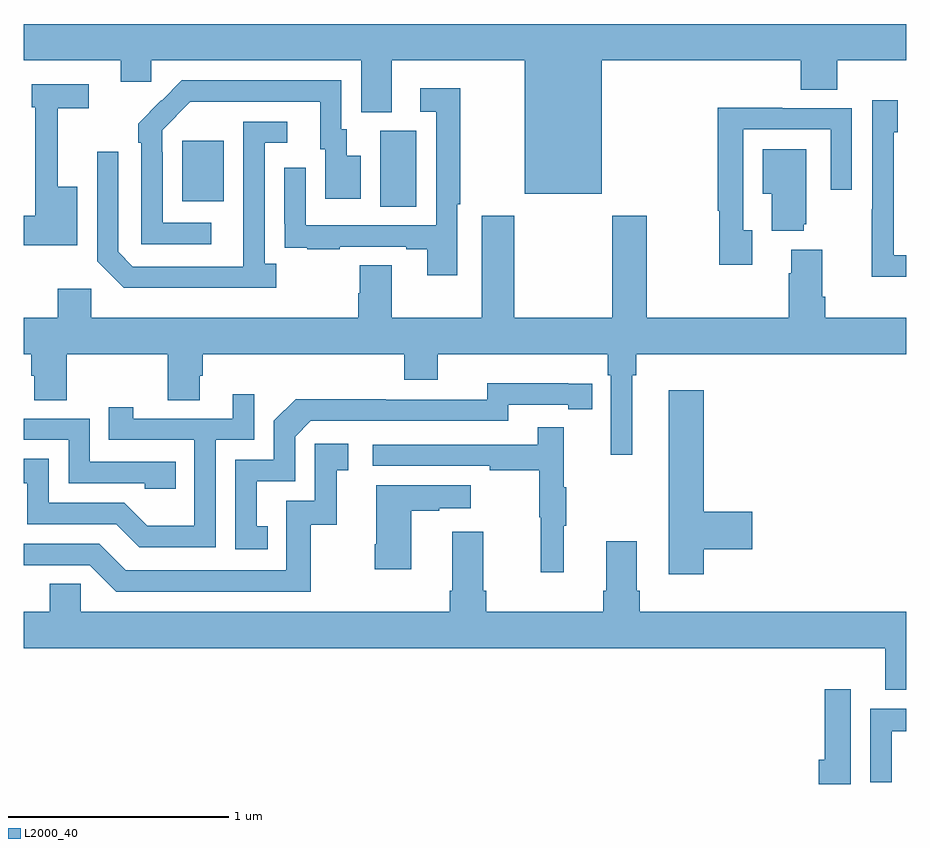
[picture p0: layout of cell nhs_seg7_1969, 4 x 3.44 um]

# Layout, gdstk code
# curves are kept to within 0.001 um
import gdstk
lib = gdstk.Library(unit=1e-6, precision=1e-09)
def R(c, l, rs):  # rectangles x0, y0, x1, y1
    for r in rs: c.add(gdstk.rectangle(r[:2], r[2:], *l))
def P(c, l, *ps):  # polygons
    for p in ps: c.add(gdstk.Polygon(p, *l))
L2000_40 = (2000, 40)

nhs_seg7_1969 = lib.new_cell('nhs_seg7_1969')
R(nhs_seg7_1969, L2000_40, [(244.616,1002.616,244.78,1002.96), (243.719,1002.641,243.907,1002.916)])
P(nhs_seg7_1969, L2000_40, [(245.62,1003.28),(246.521,1003.28),(246.521,1003.147),(246.686,1003.147),(246.686,1003.28),(247,1003.28),(247,1003.444),(243,1003.444),(243,1003.28),(243.44,1003.28),(243.44,1003.182),(243.579,1003.182),(243.579,1003.28),(244.529,1003.28),(244.529,1003.045),(244.669,1003.045),(244.669,1003.28),(245.27,1003.28),(245.27,1002.674),(245.62,1002.674)],
  [(243.85,1002.543),(243.63,1002.543),(243.63,1002.863),(243.627,1002.863),(243.627,1002.963),(243.756,1003.092),(244.343,1003.092),(244.343,1002.876),(244.367,1002.876),(244.367,1002.651),(244.528,1002.651),(244.528,1002.847),(244.465,1002.847),(244.465,1002.966),(244.44,1002.966),(244.44,1003.188),(243.716,1003.188),(243.519,1002.993),(243.519,1002.905),(243.534,1002.905),(243.534,1002.447),(243.85,1002.447)],
  [(243.244,1002.706),(243.155,1002.706),(243.155,1003.062),(243.295,1003.062),(243.295,1003.17),(243.037,1003.17),(243.037,1003.067),(243.052,1003.067),(243.052,1002.574),(243,1002.574),(243,1002.442),(243.244,1002.442)],
  [(244.965,1002.628),(244.978,1002.628),(244.978,1003.153),(244.797,1003.153),(244.797,1003.047),(244.869,1003.047),(244.869,1002.531),(244.278,1002.531),(244.278,1002.793),(244.182,1002.793),(244.182,1002.538),(244.183,1002.538),(244.183,1002.429),(244.285,1002.429),(244.285,1002.423),(244.433,1002.423),(244.433,1002.435),(244.733,1002.435),(244.733,1002.423),(244.829,1002.423),(244.829,1002.306),(244.965,1002.306)],
  [(247,1002.396),(246.942,1002.396),(246.942,1002.954),(246.961,1002.954),(246.961,1003.099),(246.846,1003.099),(246.846,1002.605),(246.844,1002.605),(246.844,1002.299),(247,1002.299)],
  [(246.301,1002.51),(246.261,1002.51),(246.261,1002.966),(246.657,1002.966),(246.657,1002.693),(246.753,1002.693),(246.753,1003.062),(246.437,1003.062),(246.437,1003.064),(246.145,1003.064),(246.145,1002.598),(246.153,1002.598),(246.153,1002.354),(246.301,1002.354)],
  [(244.144,1002.358),(244.092,1002.358),(244.092,1002.906),(244.195,1002.906),(244.195,1003.002),(243.996,1003.002),(243.995,1002.345),(243.495,1002.345),(243.429,1002.411),(243.429,1002.865),(243.333,1002.865),(243.333,1002.369),(243.454,1002.248),(244.144,1002.248)],
  [(246.536,1002.537),(246.547,1002.537),(246.547,1002.877),(246.35,1002.877),(246.35,1002.674),(246.389,1002.674),(246.389,1002.506),(246.536,1002.506)],
  [(246.619,1002.208),(246.619,1002.421),(246.479,1002.421),(246.479,1002.314),(246.467,1002.314),(246.467,1002.112),(245.823,1002.112),(245.823,1002.574),(245.668,1002.574),(245.668,1002.112),(245.223,1002.112),(245.223,1002.574),(245.075,1002.574),(245.075,1002.112),(244.669,1002.112),(244.669,1002.35),(244.522,1002.35),(244.522,1002.225),(244.517,1002.225),(244.517,1002.112),(243.306,1002.112),(243.306,1002.244),(243.155,1002.244),(243.155,1002.112),(243,1002.112),(243,1001.948),(243.035,1001.948),(243.035,1001.85),(243.047,1001.85),(243.047,1001.74),(243.195,1001.74),(243.195,1001.948),(243.652,1001.948),(243.652,1001.74),(243.799,1001.74),(243.799,1001.85),(243.812,1001.85),(243.812,1001.948),(244.724,1001.948),(244.724,1001.831),(244.876,1001.831),(244.876,1001.948),(245.648,1001.948),(245.648,1001.852),(245.661,1001.852),(245.661,1001.493),(245.758,1001.493),(245.758,1001.852),(245.777,1001.852),(245.777,1001.948),(247,1001.948),(247,1002.112),(246.632,1002.112),(246.632,1002.208)],
  [(244.106,1001.169),(244.057,1001.169),(244.057,1001.373),(244.23,1001.373),(244.23,1001.574),(244.302,1001.646),(245.196,1001.646),(245.196,1001.718),(245.468,1001.718),(245.468,1001.698),(245.576,1001.698),(245.576,1001.814),(245.1,1001.815),(245.1,1001.742),(244.64,1001.742),(244.64,1001.744),(244.232,1001.744),(244.134,1001.646),(244.134,1001.469),(243.96,1001.469),(243.96,1001.064),(244.106,1001.064)],
  [(246.083,1001.063),(246.301,1001.063),(246.301,1001.234),(246.083,1001.234),(246.083,1001.785),(245.924,1001.785),(245.924,1000.95),(246.083,1000.95)],
  [(243.87,1001.559),(244.044,1001.559),(244.044,1001.767),(243.947,1001.767),(243.947,1001.655),(243.496,1001.655),(243.496,1001.707),(243.385,1001.707),(243.385,1001.559),(243.774,1001.559),(243.774,1001.17),(243.56,1001.17),(243.456,1001.274),(243.114,1001.274),(243.114,1001.473),(243,1001.473),(243,1001.363),(243.016,1001.363),(243.016,1001.178),(243.419,1001.178),(243.524,1001.073),(243.87,1001.073)],
  [(243.689,1001.46),(243.3,1001.46),(243.3,1001.655),(243,1001.655),(243,1001.559),(243.204,1001.559),(243.204,1001.364),(243.549,1001.364),(243.549,1001.337),(243.689,1001.337)],
  [(245.447,1001.171),(245.458,1001.171),(245.458,1001.345),(245.447,1001.345),(245.447,1001.617),(245.329,1001.617),(245.329,1001.538),(244.581,1001.538),(244.581,1001.442),(245.113,1001.442),(245.113,1001.422),(245.337,1001.422),(245.337,1001.208),(245.344,1001.208),(245.344,1000.959),(245.447,1000.959)],
  [(244.3,1001.175),(244.418,1001.175),(244.418,1001.421),(244.471,1001.421),(244.471,1001.542),(244.32,1001.542),(244.32,1001.283),(244.191,1001.283),(244.191,1000.968),(243.462,1000.968),(243.342,1001.088),(243,1001.088),(243,1000.992),(243.3,1000.992),(243.42,1000.872),(244.3,1000.872)],
  [(244.756,1001.239),(244.883,1001.239),(244.883,1001.249),(245.026,1001.249),(245.026,1001.353),(244.598,1001.353),(244.598,1001.086),(244.591,1001.086),(244.591,1000.974),(244.756,1000.974)],
  [(247,1000.78),(245.792,1000.78),(245.792,1000.876),(245.779,1000.876),(245.779,1001.101),(245.639,1001.101),(245.639,1000.876),(245.627,1000.876),(245.627,1000.78),(245.096,1000.78),(245.096,1000.876),(245.083,1000.876),(245.083,1001.143),(244.943,1001.143),(244.943,1000.876),(244.931,1000.876),(244.931,1000.78),(243.258,1000.78),(243.258,1000.907),(243.119,1000.907),(243.119,1000.78),(243,1000.78),(243,1000.616),(246.905,1000.616),(246.905,1000.427),(247,1000.427)],
  [(246.748,1000.007),(246.747,1000.007),(246.747,1000.429),(246.631,1000.429),(246.631,1000.111),(246.602,1000.111),(246.602,1000),(246.748,1000)],
  [(246.933,1000.238),(247,1000.238),(247,1000.342),(246.837,1000.342),(246.837,1000.008),(246.933,1000.008)])

lib.write_gds('nhs_seg7_1969.gds')
